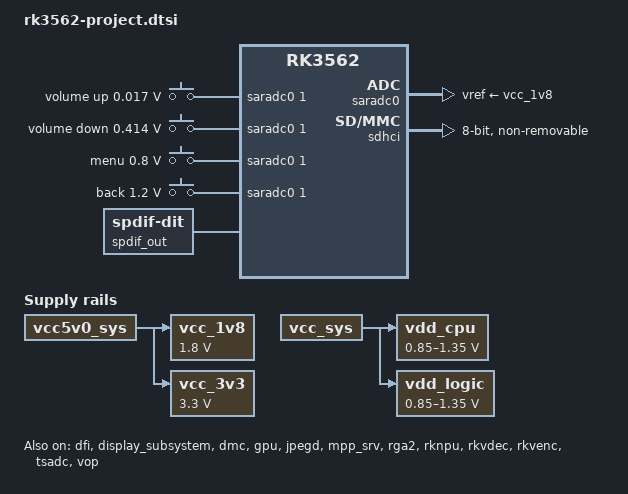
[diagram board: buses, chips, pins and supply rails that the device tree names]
// SPDX-License-Identifier: (GPL-2.0+ OR MIT)
/*
 * Copyright (c) 2025 Rockchip Electronics Co., Ltd.
 *
 */

#include <dt-bindings/display/drm_mipi_dsi.h>
#include <dt-bindings/gpio/gpio.h>
#include <dt-bindings/input/input.h>
#include <dt-bindings/pinctrl/rockchip.h>

/ {
	adc_keys: adc-keys {
		compatible = "adc-keys";
		io-channels = <&saradc0 1>;
		io-channel-names = "buttons";
		keyup-threshold-microvolt = <1800000>;
		poll-interval = <100>;

		vol-up-key {
			linux,code = <KEY_VOLUMEUP>;
			label = "volume up";
			press-threshold-microvolt = <17000>;
		};

		vol-down-key {
			linux,code = <KEY_VOLUMEDOWN>;
			label = "volume down";
			press-threshold-microvolt = <414000>;
		};

		menu-key {
			linux,code = <KEY_MENU>;
			label = "menu";
			press-threshold-microvolt = <800000>;
		};

		back-key {
			linux,code = <KEY_BACK>;
			label = "back";
			press-threshold-microvolt = <1200000>;
		};
	};

	pdm_codec: dummy-codec {
		status = "okay";
		compatible = "rockchip,dummy-codec";
		#sound-dai-cells = <0>;
	};

	pdm_mic_array: pdm-mic-array {
		status = "disabled";
		compatible = "simple-audio-card";
		simple-audio-card,name = "rockchip,pdm-mic-array";
		simple-audio-card,cpu {
			sound-dai = <&pdm>;
		};
		simple-audio-card,codec {
			sound-dai = <&pdm_codec>;
		};
	};

	vcc_1v8: vcc_1v8 {
		compatible = "regulator-fixed";
		regulator-name = "vcc_1v8";
		regulator-always-on;
		regulator-boot-on;
		regulator-min-microvolt = <1800000>;
		regulator-max-microvolt = <1800000>;
		vin-supply = <&vcc5v0_sys>;
	};

	vcc_3v3: vcc_3v3{
		compatible = "regulator-fixed";
		regulator-name = "vcc_3v3";
		regulator-always-on;
		regulator-boot-on;
		regulator-min-microvolt = <3300000>;
		regulator-max-microvolt = <3300000>;
		vin-supply = <&vcc5v0_sys>;
	};


	vdd_cpu: vdd-cpu {
		compatible = "pwm-regulator";
		pwms = <&pwm7 0 5000 1>;
		regulator-name = "vdd_cpu";
		regulator-min-microvolt = <850000>;
		regulator-max-microvolt = <1350000>;
		regulator-init-microvolt = <900000>;
		regulator-always-on;
		regulator-boot-on;
		regulator-settling-time-up-us = <250>;
		pwm-supply = <&vcc_sys>;
		status = "okay";
	};

	vdd_logic: vdd-logic {
		compatible = "pwm-regulator";
		pwms = <&pwm13 0 5000 1>;
		regulator-name = "vdd_logic";
		regulator-min-microvolt = <850000>;
		regulator-max-microvolt = <1350000>;
		regulator-init-microvolt = <900000>;
		regulator-always-on;
		regulator-boot-on;
		regulator-settling-time-up-us = <250>;
		pwm-supply = <&vcc_sys>;
		status = "okay";
	};

	spdif_out: spdif-out {
		status = "okay";
		compatible = "linux,spdif-dit";
		#sound-dai-cells = <0>;
	};

	spdif-sound {
		status = "okay";
		compatible = "simple-audio-card";
		simple-audio-card,name = "rk-spdif-sound";
		simple-audio-card,mclk-fs = <128>;
		simple-audio-card,cpu {
			sound-dai = <&spdif_8ch>;
		};
		simple-audio-card,codec {
			sound-dai = <&spdif_out>;
		};
	};

	test-power {
		status = "okay";
	};
};

&cpu0 {
	cpu-supply = <&vdd_cpu>;
};

&dfi {
	status = "okay";
};

&display_subsystem {
	status = "okay";
};

&dmc {
	center-supply = <&vdd_logic>;
	status = "okay";
};

&gpu {
	status = "okay";
	mali-supply = <&vdd_logic>;
};

&jpegd {
	status = "okay";
};

&jpegd_mmu {
	status = "okay";
};

&mpp_srv {
	status = "okay";
};

&rga2 {
	status = "okay";
};

&rga2_mmu {
	status = "okay";
};

&rknpu {
	rknpu-supply = <&vdd_logic>;
	status = "okay";
};

&rknpu_mmu {
	status = "okay";
};

&rkvdec {
	status = "okay";
};

&rkvdec_mmu {
	status = "okay";
};

&rkvenc {
	status = "okay";
};

&rkvenc_mmu {
	status = "okay";
};

&saradc0 {
	status = "okay";
	vref-supply = <&vcc_1v8>;
};

&sdhci {
	bus-width = <8>;
	no-sdio;
	no-sd;
	non-removable;
	max-frequency = <200000000>;
	mmc-hs400-1_8v;
	mmc-hs400-enhanced-strobe;
	full-pwr-cycle-in-suspend;
	status = "okay";
};

&tsadc {
	status = "okay";
};

&vop {
	status = "okay";
};

&vop_mmu {
	status = "okay";
};
